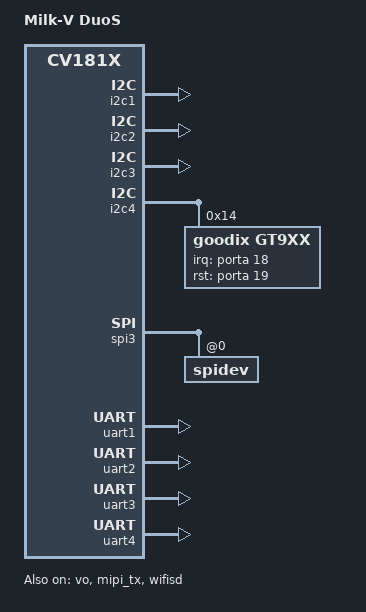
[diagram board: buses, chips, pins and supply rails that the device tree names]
/dts-v1/;
#include "cv181x_base_arm.dtsi"
#include "cv181x_asic_bga.dtsi"
#include "cv181x_asic_sd.dtsi"
#include "cv181x_default_memmap.dtsi"

/ {
	model = "Milk-V DuoS";

	sd:cv-sd@4310000 {
		max-frequency = <10000000>;
	};
};

&mipi_rx {
	snsr-reset = <&porta 2 GPIO_ACTIVE_LOW>, <&porta 2 GPIO_ACTIVE_LOW>, <&porta 2 GPIO_ACTIVE_LOW>;
};

&i2c0 {
	status = "disabled";
};

&i2c1 {
	status = "okay";
};

&i2c2 {
	status = "okay";
};

&i2c3 {
	status = "okay";
};

&i2c4 {
	status = "okay";

	gt9xx: gt9xx@14 {
		compatible = "goodix,gt9xx";
		reg = <0x14>;
		goodix,irq-gpio = <&porta 18 0>;
		goodix,rst-gpio = <&porta 19 GPIO_ACTIVE_HIGH>;
		status = "okay";
	};
};

&spi3 {
	status = "okay";

	spidev@0 {
		status = "okay";
	};
};

&dac {
	/delete-property/ mute-gpio-l;
	/delete-property/ mute-gpio-r;
};

/* mipi dsi for u-boot.
 * BADGE: no pwm-gpio / power-ct-gpio. The dev-board values are porte 0/1,
 * which on the Nix Badge 2.0 are the IIC2 SCL/SDA pads wired to the LT8912B
 * HDMI bridge; letting vo/mipi_tx claim them as GPIOs kills the bridge's I2C
 * bus (the Debian rig fights this at runtime with cvi-pinmux re-asserts —
 * archive GOLDEN-first-hdmi-out.md fix #2). The driver treats the absent properties
 * as -EINVAL and skips them (vo_mipi_tx.c of_get_named_gpio_flags fallback).
 */
&vo {
	compatible = "cvitek,vo";
	reset-gpio = <&porte 2 GPIO_ACTIVE_LOW>;
	/* the base dtsi (cv181x_base.dtsi &vo) sets these; deleting the
	 * re-statement is not enough — delete the inherited properties */
	/delete-property/ pwm-gpio;
	/delete-property/ power-ct-gpio;
	status = "okay";
};

/* mipi dsi for kernel — same badge pad note as &vo above */
&mipi_tx {
	compatible = "cvitek,mipi_tx";
	reset-gpio = <&porte 2 GPIO_ACTIVE_LOW>;
	/delete-property/ pwm-gpio;
	/delete-property/ power-ct-gpio;
	status = "okay";
};

&wifisd {
	status = "okay";
	cap-sd-highspeed;
	sd-uhs-sdr25;
	sd-uhs-ddr50;
	sd-uhs-sdr104;
	min-frequency = <400000>;
	max-frequency = <187500000>;
};

&wifi_pin {
	status = "okay";
	compatible = "cvitek,wifi-pin";
	poweron-gpio = <&porta 15 GPIO_ACTIVE_HIGH>;
	wakeup-gpio = <&porte 7 GPIO_ACTIVE_HIGH>;
};

&usb {
	vbus-gpio = <&portb 6 0>;
};

&uart1 {
	status = "okay";
};

&uart2 {
	status = "okay";
};

&uart3 {
	status = "okay";
};

&uart4 {
	status = "okay";
};
